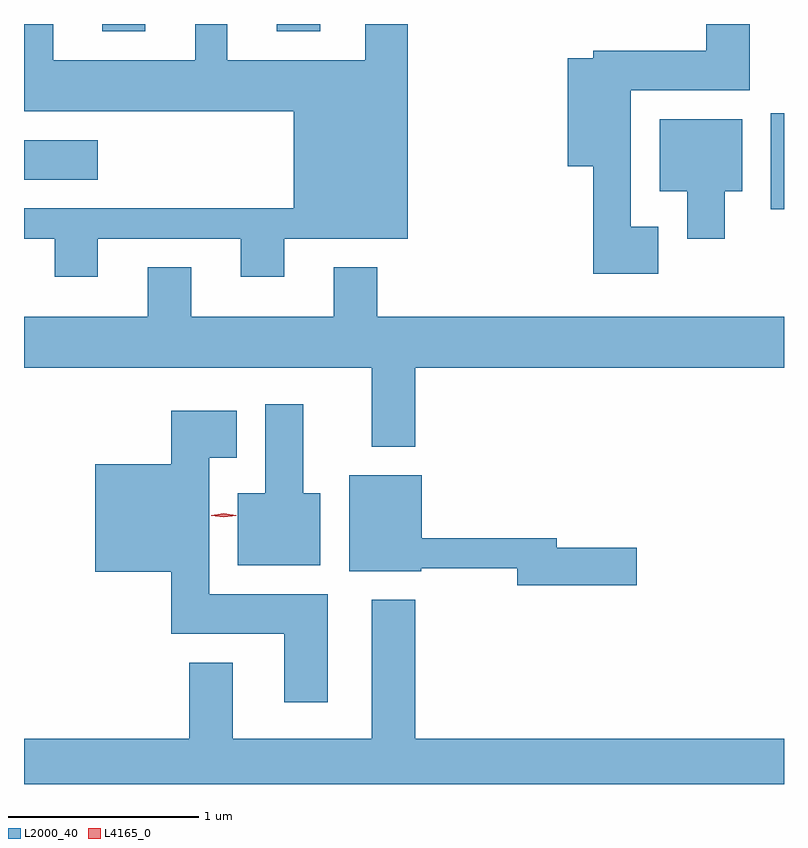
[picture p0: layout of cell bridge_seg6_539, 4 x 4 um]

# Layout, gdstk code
import gdstk
lib = gdstk.Library(unit=1e-6, precision=1e-09)
def R(c, l, rs):  # rectangles x0, y0, x1, y1
    for r in rs: c.add(gdstk.rectangle(r[:2], r[2:], *l))
def P(c, l, *ps):  # polygons
    for p in ps: c.add(gdstk.Polygon(p, *l))
L2000_40 = (2000, 40)
L4165_0 = (4165, 0)

bridge_seg6_539 = lib.new_cell('bridge_seg6_539')
R(bridge_seg6_539, L2000_40, [(431.571,1659.651,431.64,1660.154), (427.64,1659.806,428.029,1660.014), (428.051,1660.586,428.279,1660.625), (428.971,1660.586,429.199,1660.625)])
P(bridge_seg6_539, L2000_40, [(430.979,1659.559),(430.834,1659.559),(430.834,1660.276),(431.459,1660.276),(431.459,1660.625),(431.231,1660.625),(431.231,1660.484),(430.636,1660.484),(430.636,1660.444),(430.501,1660.444),(430.501,1659.876),(430.636,1659.876),(430.636,1659.311),(430.979,1659.311)],
  [(428.029,1659.496),(428.781,1659.496),(428.781,1659.296),(429.009,1659.296),(429.009,1659.496),(429.659,1659.496),(429.659,1660.625),(429.436,1660.625),(429.436,1660.434),(428.709,1660.434),(428.709,1660.625),(428.541,1660.625),(428.541,1660.434),(427.794,1660.434),(427.794,1660.625),(427.64,1660.625),(427.64,1660.166),(429.061,1660.166),(429.061,1659.654),(427.64,1659.654),(427.64,1659.496),(427.801,1659.496),(427.801,1659.296),(428.029,1659.296)],
  [(431.329,1659.746),(431.419,1659.746),(431.419,1660.124),(430.986,1660.124),(430.986,1659.746),(431.131,1659.746),(431.131,1659.496),(431.329,1659.496)],
  [(429.699,1658.816),(431.64,1658.816),(431.64,1659.084),(429.499,1659.084),(429.499,1659.344),(429.271,1659.344),(429.271,1659.084),(428.519,1659.084),(428.519,1659.344),(428.291,1659.344),(428.291,1659.084),(427.64,1659.084),(427.64,1658.816),(429.471,1658.816),(429.471,1658.401),(429.699,1658.401)],
  [(429.199,1658.154),(429.109,1658.154),(429.109,1658.624),(428.911,1658.624),(428.911,1658.154),(428.766,1658.154),(428.766,1657.776),(429.199,1657.776)],
  [(429.239,1657.624),(428.614,1657.624),(428.614,1658.341),(428.759,1658.341),(428.759,1658.589),(428.416,1658.589),(428.416,1658.309),(428.016,1658.309),(428.016,1657.741),(428.416,1657.741),(428.416,1657.416),(429.011,1657.416),(429.011,1657.056),(429.239,1657.056)],
  [(430.864,1657.869),(430.444,1657.869),(430.444,1657.919),(429.734,1657.919),(429.734,1658.249),(429.351,1658.249),(429.351,1657.746),(429.73,1657.746),(429.73,1657.761),(430.236,1657.761),(430.236,1657.671),(430.864,1657.671)],
  [(431.64,1656.864),(429.699,1656.864),(429.699,1657.594),(429.471,1657.594),(429.471,1656.864),(428.739,1656.864),(428.739,1657.264),(428.511,1657.264),(428.511,1656.864),(427.64,1656.864),(427.64,1656.625),(431.64,1656.625)])
P(bridge_seg6_539, L4165_0, [(428.692,1658.029),(428.626,1658.038),(428.626,1658.039),(428.626,1658.04),(428.692,1658.049),(428.758,1658.04),(428.758,1658.039),(428.758,1658.038)])

lib.write_gds('bridge_seg6_539.gds')
